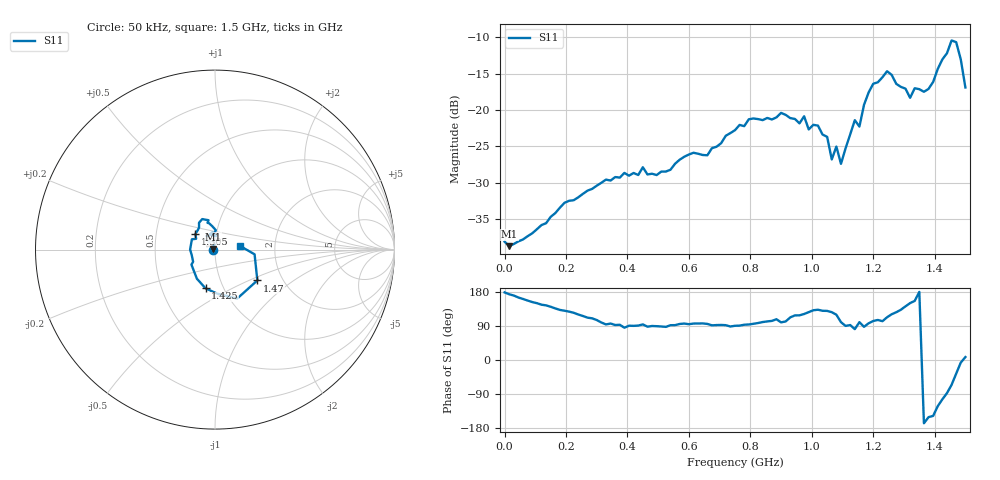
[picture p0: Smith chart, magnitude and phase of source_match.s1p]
! Created with skrf 1.8.0 (http://scikit-rf.org).
# Hz S RI R 50.0
!freq ReS11 ImS11
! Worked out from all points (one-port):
!   101 points, 50 kHz to 1.5 GHz, reference 50 ohm
!   lowest |S11| = -38.7 dB at 15.05 MHz (marker M1), VSWR 1.02, Z = 48.9 + j0.129 ohm
!   |S11| at or under -10 dB: start of sweep to end of sweep
!   S11 on the Smith chart (normalised r, x): 50 kHz: 0.98, +0.00; 1.305 GHz: 0.79, +0.14; 1.425 GHz: 0.82, -0.37; 1.47 GHz: 1.49, -0.56; 1.5 GHz: 1.33, +0.05
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50000  -0.0125 0.00035
1.50495e7  -0.0116 0.00132
1.950435e8  -0.0149 0.0176
3.750375e8  -0.00177 0.0343
4.50035e8  -0.00278 0.0404
4.950335e8  0.000488 0.0358
5.70031e8  -0.00405 0.0454
6.60028e8  -0.00445 0.0487
7.50025e8  -0.000378 0.0727
9.0002e8  -0.0154 0.0942
9.450185e8  -0.0403 0.0768
1.020016e9  -0.0529 0.0575
1.050015e9  -0.0416 0.0504
1.065014e9  -0.027 0.0369
1.080014e9  -0.0276 0.0488
1.095014e9  -0.00728 0.042
1.125012e9  -0.00272 0.0679
1.140012e9  0.0128 0.0841
1.155012e9  -0.0132 0.0758
1.20001e9  -0.0338 0.1474
1.245008e9  -0.0711 0.17
1.305006e9  -0.1097 0.087
1.320006e9  -0.1051 0.0603
1.380004e9  -0.1218 -0.0679
1.425002e9  -0.0527 -0.2157
1.455002e9  0.1235 -0.2731
1.470001e9  0.236 -0.1716
1.5e9  0.1413 0.0193
